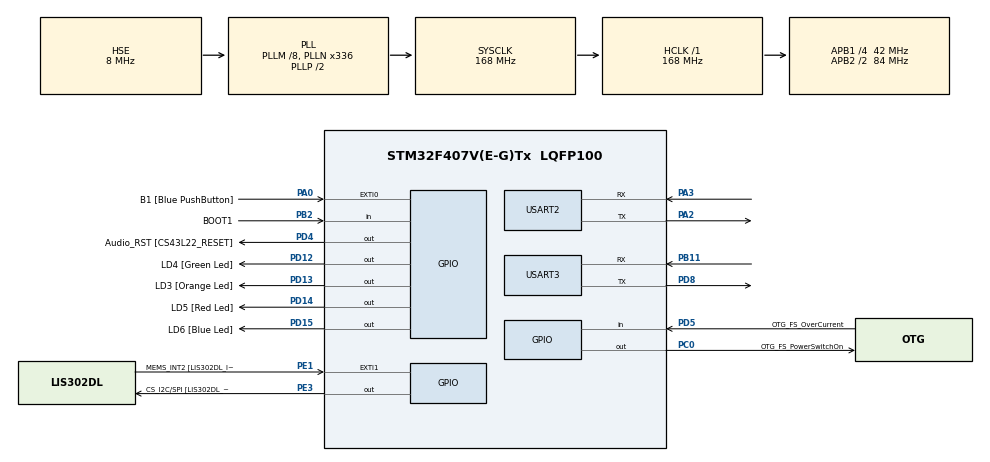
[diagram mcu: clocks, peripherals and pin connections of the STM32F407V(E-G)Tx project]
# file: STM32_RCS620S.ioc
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Mcu.Family=STM32F4
Mcu.Name=STM32F407V(E-G)Tx
Mcu.Package=LQFP100
NVIC.PriorityGroup=NVIC_PRIORITYGROUP_0
PA0-WKUP.GPIO_Label=B1 [Blue PushButton]
PA0-WKUP.GPIO_ModeDefaultEXTI=GPIO_MODE_EVT_RISING
PA0-WKUP.GPIO_PuPd=GPIO_NOPULL
PA0-WKUP.Signal=GPXTI0
PA10.GPIO_Label=OTG_FS_ID
PA10.GPIO_Mode=GPIO_MODE_AF_PP
PA10.GPIO_PuPd=GPIO_NOPULL
PA10.GPIO_Speed=GPIO_SPEED_FREQ_LOW
PA10.Signal=USB_OTG_FS_ID
PA11.GPIO_Label=OTG_FS_DM
PA11.GPIO_Mode=GPIO_MODE_AF_PP
PA11.GPIO_PuPd=GPIO_NOPULL
PA11.GPIO_Speed=GPIO_SPEED_FREQ_LOW
PA11.Signal=USB_OTG_FS_DM
PA12.GPIO_Label=OTG_FS_DP
PA12.GPIO_Mode=GPIO_MODE_AF_PP
PA12.GPIO_PuPd=GPIO_NOPULL
PA12.GPIO_Speed=GPIO_SPEED_FREQ_LOW
PA12.Signal=USB_OTG_FS_DP
PA13.GPIO_Label=SWDIO
PA13.Signal=SYS_JTMS-SWDIO
PA14.GPIO_Label=SWCLK
PA14.Signal=SYS_JTCK-SWCLK
PA2.Mode=Asynchronous
PA2.Signal=USART2_TX
PA3.Mode=Asynchronous
PA3.Signal=USART2_RX
PA4.GPIO_Label=I2S3_WS [CS43L22_LRCK]
PA4.GPIO_Mode=GPIO_MODE_AF_PP
PA4.GPIO_PuPd=GPIO_NOPULL
PA4.GPIO_Speed=GPIO_SPEED_FREQ_LOW
PA4.Signal=I2S3_WS
PA5.GPIO_Label=SPI1_SCK [LIS302DL_SCL/SPC]
PA5.GPIO_Mode=GPIO_MODE_AF_PP
PA5.GPIO_PuPd=GPIO_NOPULL
PA5.GPIO_Speed=GPIO_SPEED_FREQ_LOW
PA5.Signal=SPI1_SCK
PA6.GPIO_Label=SPI1_MISO [LIS302DL_SDO]
PA6.GPIO_Mode=GPIO_MODE_AF_PP
PA6.GPIO_PuPd=GPIO_NOPULL
PA6.GPIO_Speed=GPIO_SPEED_FREQ_LOW
PA6.Signal=SPI1_MISO
PA7.GPIO_Label=SPI1_MOSI [LIS302DL_SDA/SDI/SDO]
PA7.GPIO_Mode=GPIO_MODE_AF_PP
PA7.GPIO_PuPd=GPIO_NOPULL
PA7.GPIO_Speed=GPIO_SPEED_FREQ_LOW
PA7.Signal=SPI1_MOSI
PA9.GPIO_Label=VBUS_FS
PA9.GPIO_Mode=GPIO_MODE_INPUT
PA9.GPIO_PuPd=GPIO_NOPULL
PA9.Signal=USB_OTG_FS_VBUS
PB10.GPIO_Label=CLK_IN [MP45DT02_CLK]
PB10.GPIO_Mode=GPIO_MODE_AF_PP
PB10.GPIO_PuPd=GPIO_NOPULL
PB10.GPIO_Speed=GPIO_SPEED_FREQ_LOW
PB10.Signal=I2S2_CK
PB11.Mode=Asynchronous
PB11.Signal=USART3_RX
PB2.GPIO_Label=BOOT1
PB2.GPIO_Mode=GPIO_MODE_INPUT
PB2.GPIO_PuPd=GPIO_NOPULL
PB2.Signal=GPIO_Input
PB3.GPIO_Label=SWO
PB3.Signal=SYS_JTDO-SWO
PB6.GPIO_Label=Audio_SCL [CS43L22_SCL]
PB6.GPIO_Mode=GPIO_MODE_AF_OD
PB6.GPIO_PuPd=GPIO_NOPULL
PB6.GPIO_Speed=GPIO_SPEED_FREQ_LOW
PB6.Signal=I2C1_SCL
PB9.GPIO_Label=Audio_SDA [CS43L22_SDA]
PB9.GPIO_Mode=GPIO_MODE_AF_OD
PB9.GPIO_PuPd=GPIO_NOPULL
PB9.GPIO_Speed=GPIO_SPEED_FREQ_LOW
PB9.Signal=I2C1_SDA
PC0.GPIO_Label=OTG_FS_PowerSwitchOn
PC0.GPIO_PuPd=GPIO_NOPULL
PC0.GPIO_Speed=GPIO_SPEED_FREQ_LOW
PC0.PinState=GPIO_PIN_SET
PC0.Signal=GPIO_Output
PC10.GPIO_Label=I2S3_SCK [CS43L22_SCLK]
PC10.GPIO_Mode=GPIO_MODE_AF_PP
PC10.GPIO_PuPd=GPIO_NOPULL
PC10.GPIO_Speed=GPIO_SPEED_FREQ_LOW
PC10.Signal=I2S3_CK
PC12.GPIO_Label=I2S3_SD [CS43L22_SDIN]
PC12.GPIO_Mode=GPIO_MODE_AF_PP
PC12.GPIO_PuPd=GPIO_NOPULL
PC12.GPIO_Speed=GPIO_SPEED_FREQ_LOW
PC12.Signal=I2S3_SD
PC14-OSC32_IN.GPIO_Label=PC14-OSC32_IN
PC14-OSC32_IN.Signal=RCC_OSC32_IN
PC15-OSC32_OUT.GPIO_Label=PC15-OSC32_OUT
PC15-OSC32_OUT.Signal=RCC_OSC32_OUT
PC3.GPIO_Label=PDM_OUT [MP45DT02_DOUT]
PC3.GPIO_Mode=GPIO_MODE_AF_PP
PC3.GPIO_PuPd=GPIO_NOPULL
PC3.GPIO_Speed=GPIO_SPEED_FREQ_LOW
PC3.Signal=I2S2_SD
PC7.GPIO_Label=I2S3_MCK [CS43L22_MCLK]
PC7.GPIO_Mode=GPIO_MODE_AF_PP
PC7.GPIO_PuPd=GPIO_NOPULL
PC7.GPIO_Speed=GPIO_SPEED_FREQ_LOW
PC7.Signal=I2S3_MCK
PD12.GPIO_Label=LD4 [Green Led]
PD12.GPIO_PuPd=GPIO_NOPULL
PD12.GPIO_Speed=GPIO_SPEED_FREQ_LOW
PD12.Signal=GPIO_Output
PD13.GPIO_Label=LD3 [Orange Led]
PD13.GPIO_PuPd=GPIO_NOPULL
PD13.GPIO_Speed=GPIO_SPEED_FREQ_LOW
PD13.Signal=GPIO_Output
PD14.GPIO_Label=LD5 [Red Led]
PD14.GPIO_PuPd=GPIO_NOPULL
PD14.GPIO_Speed=GPIO_SPEED_FREQ_LOW
PD14.Signal=GPIO_Output
PD15.GPIO_Label=LD6 [Blue Led]
PD15.GPIO_PuPd=GPIO_NOPULL
PD15.GPIO_Speed=GPIO_SPEED_FREQ_LOW
PD15.Signal=GPIO_Output
PD4.GPIO_Label=Audio_RST [CS43L22_RESET]
PD4.GPIO_PuPd=GPIO_NOPULL
PD4.GPIO_Speed=GPIO_SPEED_FREQ_LOW
PD4.Signal=GPIO_Output
PD5.GPIO_Label=OTG_FS_OverCurrent
PD5.GPIO_Mode=GPIO_MODE_INPUT
PD5.GPIO_PuPd=GPIO_NOPULL
PD5.Signal=GPIO_Input
PD8.Mode=Asynchronous
PD8.Signal=USART3_TX
PE1.GPIO_Label=MEMS_INT2 [LIS302DL_INT2]
PE1.GPIO_ModeDefaultEXTI=GPIO_MODE_EVT_RISING
PE1.GPIO_PuPd=GPIO_NOPULL
PE1.Signal=GPXTI1
PE3.GPIO_Label=CS_I2C/SPI [LIS302DL_CS_I2C/SPI]
PE3.GPIO_PuPd=GPIO_NOPULL
PE3.GPIO_Speed=GPIO_SPEED_FREQ_LOW
PE3.Signal=GPIO_Output
PH0-OSC_IN.GPIO_Label=PH0-OSC_IN
PH0-OSC_IN.Mode=HSE-External-Oscillator
PH0-OSC_IN.Signal=RCC_OSC_IN
PH1-OSC_OUT.GPIO_Label=PH1-OSC_OUT
PH1-OSC_OUT.Mode=HSE-External-Oscillator
PH1-OSC_OUT.Signal=RCC_OSC_OUT
ProjectManager.HeapSize=0x200
ProjectManager.StackSize=0x400
ProjectManager.TargetToolchain=SW4STM32
RCC.48MHZClocksFreq_Value=48000000
RCC.AHBFreq_Value=168000000
RCC.APB1CLKDivider=RCC_HCLK_DIV4
RCC.APB1Freq_Value=42000000
RCC.APB1TimFreq_Value=84000000
RCC.APB2CLKDivider=RCC_HCLK_DIV2
RCC.APB2Freq_Value=84000000
RCC.APB2TimFreq_Value=168000000
RCC.CortexFreq_Value=168000000
RCC.HCLKFreq_Value=168000000
RCC.HSE_VALUE=8000000
RCC.HSI_VALUE=16000000
RCC.LSE_VALUE=32768
RCC.PLLM=8
RCC.PLLN=336
RCC.PLLQ=7
RCC.PLLSourceVirtual=RCC_PLLSOURCE_HSE
RCC.SYSCLKFreq_VALUE=168000000
RCC.SYSCLKSource=RCC_SYSCLKSOURCE_PLLCLK
RCC.VCOOutputFreq_Value=336000000
USART2.VirtualMode=VM_ASYNC
USART3.VirtualMode=VM_ASYNC
board=STM32F407G-DISC1

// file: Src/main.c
/* USER CODE BEGIN Header */
/**
 ******************************************************************************
 * @file           : main.c
 * @brief          : Main program body
 ******************************************************************************
 * @attention
 *
 * <h2><center>&copy; Copyright (c) 2019 STMicroelectronics.
 * All rights reserved.</center></h2>
 *
 * This software component is licensed by ST under BSD 3-Clause license,
 * the "License"; You may not use this file except in compliance with the
 * License. You may obtain a copy of the License at:
 *                        opensource.org/licenses/BSD-3-Clause
 *
 ******************************************************************************
 */
/* USER CODE END Header */

#include "main.h"
#include "usart.h"
#include "gpio.h"

/* USER CODE BEGIN Includes */
#include "stdio.h"
#include "stdarg.h"
#include "rcs620s.h"
/* USER CODE END Includes */

void SystemClock_Config(void);
/* USER CODE BEGIN PFP */
void print(const char *format, ...) {
	va_list ap;
	char s[256] = { 0 };
	int len;

	va_start(ap, format);
	len = vsnprintf(s, sizeof(s), format, ap);
	HAL_UART_Transmit(&huart3, (uint8_t *) s, len, 100);
	va_end(ap);
}
/* USER CODE END PFP */

int main(void) {

	/* MCU Configuration--------------------------------------------------------*/

	/* Reset of all peripherals, Initializes the Flash interface and the Systick. */
	HAL_Init();

	/* Configure the system clock */
	SystemClock_Config();

	/* Initialize all configured peripherals */
	MX_GPIO_Init();
	MX_USART2_UART_Init();
	MX_USART3_UART_Init();
	/* USER CODE BEGIN 2 */
	int ret = RCS620S_initDevice(&huart2);
	if (!ret) {
		print("RCS620S initialize Error\r\n");
		while (1) {
		}
	}
	rcs620s_gv.timeout = 400;

	uint8_t buf[RCS620S_MAX_CARD_RESPONSE_LEN];
	uint32_t balance;
	print("Ready...\r\n");
	/* USER CODE END 2 */

	/* Infinite loop */
	/* USER CODE BEGIN WHILE */
	while (1) {
		ret = RCS620S_polling(CYBERNE_SYSTEM_CODE);
		if (ret) {
			print("IDm: ");
			for (int i = 0; i < 8; i++) {
				print("%02X ", rcs620s_gv.idm[i]);
			}
			print("\r\n");

			if (RCS620S_requestService(PASSNET_SERVICE_CODE)) {
				if (RCS620S_readEncryption(PASSNET_SERVICE_CODE, 0, buf)) {
					balance = buf[23];
					balance = (balance << 8) + buf[22];
					print("\\%d\r\n", balance);
				}
			}
		}
		RCS620S_rfOff();
		HAL_Delay(500); // Loop interval
		/* USER CODE END WHILE */

	}
}

void SystemClock_Config(void) {
	RCC_OscInitTypeDef RCC_OscInitStruct = { 0 };
	RCC_ClkInitTypeDef RCC_ClkInitStruct = { 0 };

	/** Configure the main internal regulator output voltage
	 */
	__HAL_RCC_PWR_CLK_ENABLE()
	;
	__HAL_PWR_VOLTAGESCALING_CONFIG(PWR_REGULATOR_VOLTAGE_SCALE1);
	/** Initializes the CPU, AHB and APB busses clocks
	 */
	RCC_OscInitStruct.OscillatorType = RCC_OSCILLATORTYPE_HSE;
	RCC_OscInitStruct.HSEState = RCC_HSE_ON;
	RCC_OscInitStruct.PLL.PLLState = RCC_PLL_ON;
	RCC_OscInitStruct.PLL.PLLSource = RCC_PLLSOURCE_HSE;
	RCC_OscInitStruct.PLL.PLLM = 8;
	RCC_OscInitStruct.PLL.PLLN = 336;
	RCC_OscInitStruct.PLL.PLLP = RCC_PLLP_DIV2;
	RCC_OscInitStruct.PLL.PLLQ = 7;
	if (HAL_RCC_OscConfig(&RCC_OscInitStruct) != HAL_OK) {
		Error_Handler();
	}
	/** Initializes the CPU, AHB and APB busses clocks
	 */
	RCC_ClkInitStruct.ClockType = RCC_CLOCKTYPE_HCLK | RCC_CLOCKTYPE_SYSCLK | RCC_CLOCKTYPE_PCLK1
			| RCC_CLOCKTYPE_PCLK2;
	RCC_ClkInitStruct.SYSCLKSource = RCC_SYSCLKSOURCE_PLLCLK;
	RCC_ClkInitStruct.AHBCLKDivider = RCC_SYSCLK_DIV1;
	RCC_ClkInitStruct.APB1CLKDivider = RCC_HCLK_DIV4;
	RCC_ClkInitStruct.APB2CLKDivider = RCC_HCLK_DIV2;

	if (HAL_RCC_ClockConfig(&RCC_ClkInitStruct, FLASH_LATENCY_5) != HAL_OK) {
		Error_Handler();
	}
}

void Error_Handler(void) {
}

/************************ (C) COPYRIGHT STMicroelectronics *****END OF FILE****/
